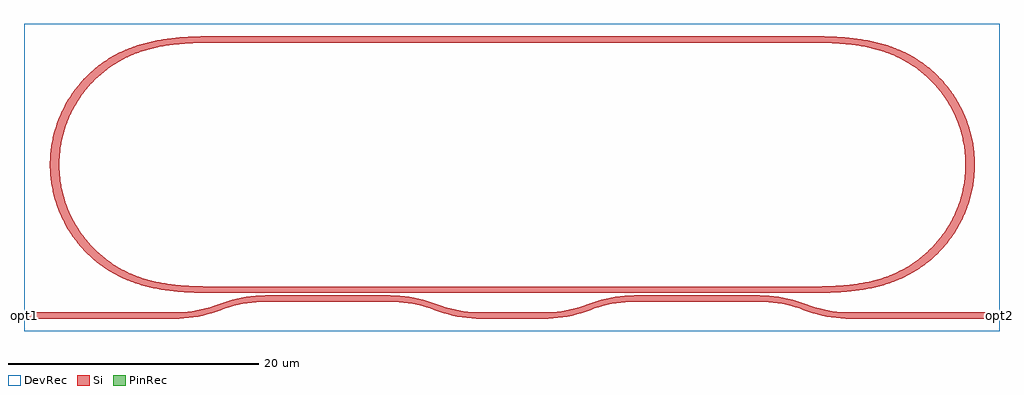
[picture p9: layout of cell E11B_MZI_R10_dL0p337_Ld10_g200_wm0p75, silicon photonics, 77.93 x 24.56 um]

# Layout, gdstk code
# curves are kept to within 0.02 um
import gdstk
lib = gdstk.Library(unit=1e-6, precision=1e-09)
def R(c, l, rs):  # rectangles x0, y0, x1, y1
    for r in rs: c.add(gdstk.rectangle(r[:2], r[2:], *l))
def P(c, l, *ps):  # polygons
    for p in ps: c.add(gdstk.Polygon(p, *l))
Si = (1, 0)
PinRec = (1, 10)
DevRec = (68, 0)

c__e11bring_r10p000_lc43p4 = lib.new_cell('_E11Bring_R10p000_Lc43p485_w0p500_wm0p750_tp30')
R(c__e11bring_r10p000_lc43p4, Si, [(-21.743,-10.25,21.743,-9.75), (-21.743,9.75,21.743,10.25)])
P(c__e11bring_r10p000_lc43p4, Si, [(-22.904,-10.25),(-25.888,-10.193),(-27.046,-10.105),(-28.032,-9.976),(-29.008,-9.783),(-29.808,-9.565),(-30.59,-9.289),(-31.348,-8.954),(-32.211,-8.475),(-32.881,-8.02),(-33.633,-7.404),(-34.322,-6.719),(-34.94,-5.969),(-35.398,-5.301),(-35.8,-4.598),(-36.205,-3.715),(-36.523,-2.797),(-36.778,-1.693),(-36.896,-0.728),(-36.92,0.243),(-36.849,1.212),(-36.684,2.17),(-36.427,3.107),(-36.08,4.014),(-35.646,4.884),(-35.13,5.707),(-34.536,6.476),(-33.87,7.184),(-33.139,7.823),(-32.348,8.388),(-31.497,8.88),(-30.59,9.29),(-29.65,9.613),(-28.522,9.888),(-27.211,10.088),(-25.888,10.193),(-24.396,10.24),(-21.743,10.25),(-21.743,9.75),(-24.261,9.741),(-25.992,9.678),(-27.557,9.515),(-28.792,9.271),(-29.549,9.054),(-30.141,8.841),(-30.719,8.591),(-31.279,8.304),(-31.812,7.986),(-32.32,7.636),(-33.262,6.84),(-33.693,6.398),(-34.189,5.807),(-34.636,5.179),(-34.955,4.651),(-35.306,3.964),(-35.545,3.395),(-35.747,2.812),(-35.945,2.066),(-36.06,1.46),(-36.147,0.694),(-36.172,-0.077),(-36.135,-0.847),(-36.06,-1.46),(-35.91,-2.216),(-35.747,-2.811),(-35.489,-3.538),(-35.172,-4.242),(-34.719,-5.048),(-34.189,-5.807),(-33.693,-6.398),(-33.037,-7.05),(-32.443,-7.543),(-31.812,-7.986),(-31.141,-8.379),(-30.287,-8.781),(-29.398,-9.101),(-28.332,-9.376),(-27.401,-9.537),(-26.306,-9.655),(-25.206,-9.717),(-21.743,-9.75),(-21.743,-10.25)],
  [(21.743,-10.25),(21.743,-9.75),(24.419,-9.738),(25.992,-9.678),(27.401,-9.537),(28.639,-9.307),(29.549,-9.053),(30.432,-8.72),(31.279,-8.304),(32.069,-7.815),(32.921,-7.152),(33.693,-6.398),(34.374,-5.56),(35.03,-4.515),(35.489,-3.538),(35.873,-2.366),(36.102,-1.154),(36.172,-0.077),(36.12,1.001),(35.945,2.066),(35.651,3.105),(35.172,4.242),(34.636,5.179),(33.897,6.167),(33.037,7.05),(32.195,7.726),(31.417,8.227),(30.576,8.657),(29.698,9.004),(28.639,9.308),(27.245,9.559),(25.992,9.678),(24.261,9.741),(21.743,9.75),(21.743,10.25),(25.557,10.209),(26.881,10.122),(27.704,10.026),(28.685,9.855),(29.65,9.613),(30.59,9.29),(31.497,8.88),(32.348,8.388),(33.139,7.823),(33.87,7.184),(34.536,6.476),(35.13,5.707),(35.646,4.884),(36.08,4.014),(36.427,3.107),(36.684,2.17),(36.849,1.212),(36.92,0.243),(36.883,-0.89),(36.749,-1.852),(36.523,-2.797),(36.205,-3.715),(35.8,-4.598),(35.311,-5.438),(34.842,-6.098),(34.322,-6.719),(33.633,-7.404),(32.881,-8.02),(32.211,-8.475),(31.348,-8.954),(30.59,-9.289),(29.808,-9.565),(29.008,-9.783),(28.032,-9.976),(27.046,-10.105),(25.06,-10.226)])

e11b_mzi_r10_dl0p337_ld1 = lib.new_cell('E11B_MZI_R10_dL0p337_Ld10_g200_wm0p75')
R(e11b_mzi_r10_dl0p337_ld1, Si, [(-1,-0.25,0,0.25), (0,-0.25,11,0.25), (35.485,-0.25,40.485,0.25), (64.97,-0.25,75.908,0.25), (75.908,-0.25,76.908,0.25), (18.243,1.107,28.243,1.607), (47.728,1.107,57.728,1.607)])
P(e11b_mzi_r10_dl0p337_ld1, Si, [(61.259,0.446),(60.576,0.682),(59.524,0.941),(58.45,1.081),(57.728,1.107),(57.728,1.607),(58.865,1.544),(59.616,1.432),(60.357,1.265),(61.083,1.043),(61.44,0.912)],
  [(40.485,-0.25),(40.485,0.25),(41.567,0.31),(42.281,0.417),(42.986,0.576),(44.016,0.912),(44.197,0.446),(43.479,0.197),(42.373,-0.075),(41.622,-0.187)],
  [(35.485,-0.25),(34.348,-0.187),(33.597,-0.075),(32.491,0.197),(31.773,0.446),(31.954,0.912),(32.637,0.675),(33.689,0.417),(34.404,0.31),(35.485,0.25)],
  [(64.97,-0.25),(63.833,-0.187),(63.082,-0.075),(61.976,0.197),(61.259,0.446),(61.44,0.912),(62.122,0.675),(63.174,0.417),(63.889,0.31),(64.97,0.25)],
  [(31.773,0.446),(31.091,0.682),(30.039,0.941),(28.965,1.081),(28.243,1.107),(28.243,1.607),(29.38,1.544),(30.131,1.432),(30.872,1.265),(31.598,1.043),(31.954,0.912)],
  [(14.712,0.446),(14.531,0.912),(14.887,1.043),(15.614,1.265),(16.354,1.432),(17.105,1.544),(18.243,1.607),(18.243,1.107),(17.521,1.081),(16.446,0.941),(15.394,0.682)],
  [(44.197,0.446),(44.016,0.912),(44.372,1.043),(45.099,1.265),(46.214,1.495),(46.969,1.579),(47.728,1.607),(47.728,1.107),(47.006,1.081),(45.932,0.941),(45.227,0.781)],
  [(11,-0.25),(11,0.25),(12.082,0.31),(12.796,0.417),(13.501,0.576),(14.531,0.912),(14.712,0.446),(13.994,0.197),(12.888,-0.075),(12.137,-0.187)])
R(e11b_mzi_r10_dl0p337_ld1, DevRec, [(-1,-1.25,76.908,23.307)])
e11b_mzi_r10_dl0p337_ld1.add(gdstk.FlexPath([(76.898,0),(76.918,0)], 0.5, ends="flush", simple_path=True, layer=1, datatype=10))  # PinRec
e11b_mzi_r10_dl0p337_ld1.add(gdstk.FlexPath([(-0.99,0),(-1.01,0)], 0.5, ends="flush", simple_path=True, layer=1, datatype=10))  # PinRec
e11b_mzi_r10_dl0p337_ld1.add(gdstk.Reference(c__e11bring_r10p000_lc43p4, (37.985,12.057)))
e11b_mzi_r10_dl0p337_ld1.add(gdstk.Label('opt2', (76.908,0), layer=1, texttype=10))
e11b_mzi_r10_dl0p337_ld1.add(gdstk.Label('opt1', (-1,0), layer=1, texttype=10))

lib.write_gds('E11B_MZI_R10_dL0p337_Ld10_g200_wm0p75.gds')
